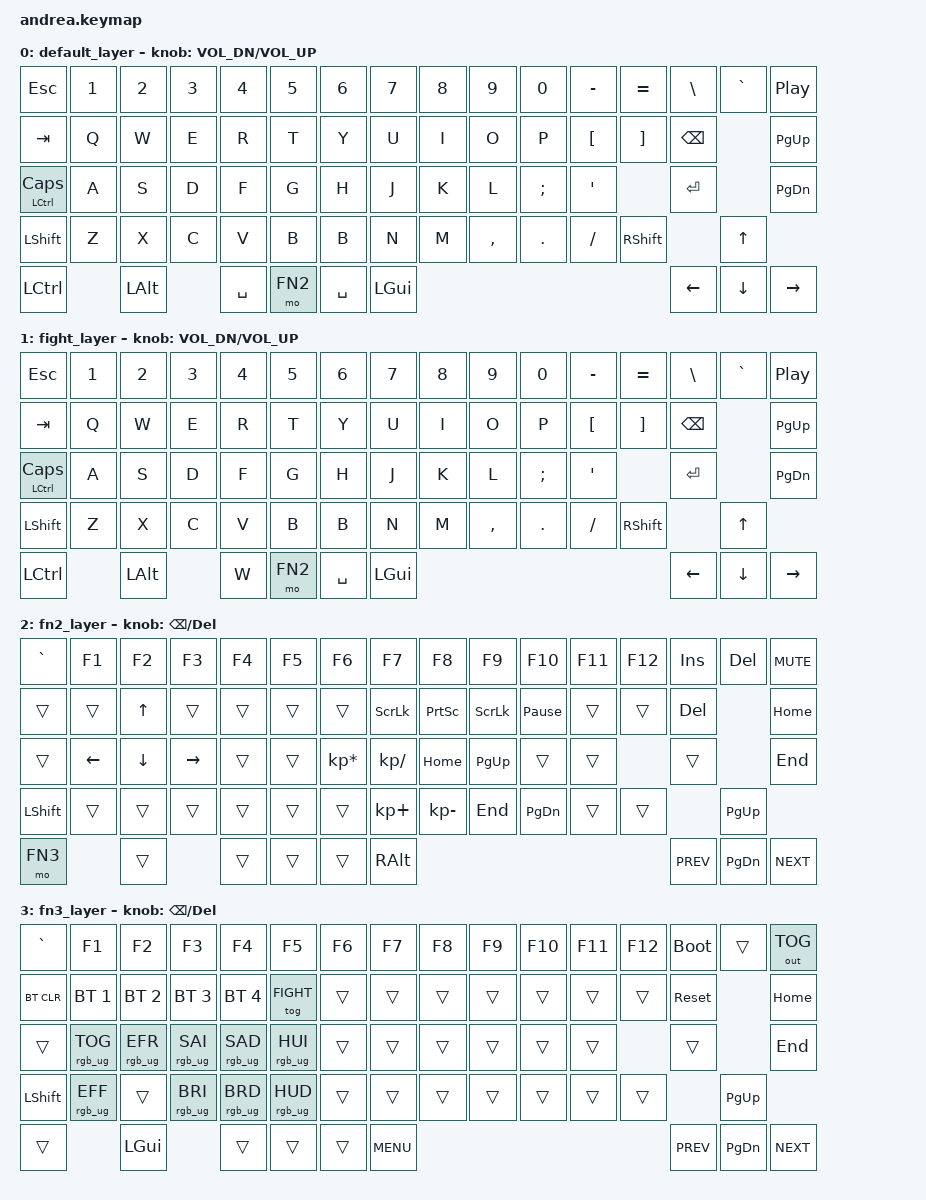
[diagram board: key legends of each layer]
#include <behaviors.dtsi>
#include <dt-bindings/zmk/keys.h>
#include <dt-bindings/zmk/bt.h>
#include <dt-bindings/zmk/outputs.h>
#include <dt-bindings/zmk/rgb.h>
#include <dt-bindings/zmk/ext_power.h>

#define FIGHT 1
#define FN2   2
#define FN3   3

/ {
	keymap {
		compatible = "zmk,keymap";

		default_layer {
			bindings = <
    &kp ESC          &kp N1           &kp N2        &kp N3        &kp N4        &kp N5           &kp N6           &kp N7           &kp N8           &kp N9           &kp N0           &kp MINUS        &kp EQUAL        &kp BSLH         &kp GRAVE       &kp C_PP
    &kp TAB          &kp Q            &kp W         &kp E         &kp R         &kp T            &kp Y            &kp U            &kp I            &kp O            &kp P            &kp LBKT         &kp RBKT         &kp BSPC                         &kp PG_UP
    &mt LCTRL CAPS   &kp A            &kp S         &kp D         &kp F         &kp G            &kp H            &kp J            &kp K            &kp L            &kp SEMI         &kp SQT                           &kp ENTER                        &kp PG_DN
    &kp LSHFT        &kp Z            &kp X         &kp C         &kp V         &kp B            &kp B            &kp N            &kp M            &kp COMMA        &kp DOT          &kp FSLH         &kp RSHFT                         &kp UP
    &kp LCTRL                         &kp LALT                    &kp SPACE     &mo FN2          &kp SPACE        &kp LGUI                                                                                              &kp LEFT         &kp DOWN        &kp RIGHT
			>;
			
			sensor-bindings = <&inc_dec_kp C_VOL_DN C_VOL_UP>;
			
		};

		fight_layer {
			bindings = <
    &kp ESC          &kp N1           &kp N2        &kp N3        &kp N4        &kp N5           &kp N6           &kp N7           &kp N8           &kp N9           &kp N0           &kp MINUS        &kp EQUAL        &kp BSLH         &kp GRAVE       &kp C_PP
    &kp TAB          &kp Q            &kp W         &kp E         &kp R         &kp T            &kp Y            &kp U            &kp I            &kp O            &kp P            &kp LBKT         &kp RBKT         &kp BSPC                         &kp PG_UP
    &mt LCTRL CAPS   &kp A            &kp S         &kp D         &kp F         &kp G            &kp H            &kp J            &kp K            &kp L            &kp SEMI         &kp SQT                           &kp ENTER                        &kp PG_DN
    &kp LSHFT        &kp Z            &kp X         &kp C         &kp V         &kp B            &kp B            &kp N            &kp M            &kp COMMA        &kp DOT          &kp FSLH         &kp RSHFT                         &kp UP
    &kp LCTRL                         &kp LALT                    &kp W         &mo FN2          &kp SPACE        &kp LGUI                                                                                              &kp LEFT         &kp DOWN        &kp RIGHT
			>;
			
			sensor-bindings = <&inc_dec_kp C_VOL_DN C_VOL_UP>;
			
		};

	        fn2_layer {
			bindings = <
    &kp GRAVE        &kp F1           &kp F2           &kp F3          &kp F4          &kp F5        &kp F6           &kp F7           &kp F8           &kp F9           &kp F10          &kp F11          &kp F12          &kp INS          &kp DEL        &kp C_MUTE
    &trans           &trans           &kp UP           &trans          &trans          &trans        &trans           &kp SLCK         &kp PSCRN        &kp SLCK         &kp PAUSE_BREAK  &trans           &trans           &kp DEL                         &kp HOME
    &trans           &kp LEFT         &kp DOWN         &kp RIGHT       &trans          &trans        &kp KP_MULTIPLY  &kp KP_DIVIDE    &kp HOME         &kp PG_UP        &trans           &trans                            &trans                          &kp END
    &kp LSHFT        &trans           &trans           &trans          &trans          &trans        &trans           &kp KP_PLUS      &kp KP_MINUS     &kp END          &kp PG_DN        &trans           &trans                            &kp PG_UP
    &mo FN3                           &trans                           &trans          &trans        &trans           &kp RALT                                                                                              &kp C_PREV       &kp PG_DN      &kp C_NEXT        
			>;

			sensor-bindings = <&inc_dec_kp BSPC DEL>;

		};

		fn3_layer {
			bindings = <
    &kp GRAVE        &kp F1           &kp F2           &kp F3          &kp F4          &kp F5           &kp F6           &kp F7           &kp F8           &kp F9           &kp F10          &kp F11          &kp F12          &bootloader      &trans         &out OUT_TOG
    &bt BT_CLR       &bt BT_SEL 1     &bt BT_SEL 2     &bt BT_SEL 3    &bt BT_SEL 4    &tog FIGHT       &trans           &trans           &trans           &trans           &trans           &trans           &trans           &sys_reset                      &kp HOME
    &trans           &rgb_ug RGB_TOG  &rgb_ug RGB_EFR  &rgb_ug RGB_SAI &rgb_ug RGB_SAD &rgb_ug RGB_HUI  &trans           &trans           &trans           &trans           &trans           &trans                            &trans                          &kp END
    &kp LSHFT        &rgb_ug RGB_EFF  &trans           &rgb_ug RGB_BRI &rgb_ug RGB_BRD &rgb_ug RGB_HUD  &trans           &trans           &trans           &trans           &trans           &trans           &trans                            &kp PG_UP
    &trans                            &kp LGUI                         &trans          &trans           &trans           &kp C_MENU                                                                                            &kp C_PREV       &kp PG_DN      &kp C_NEXT        
			>;

			sensor-bindings = <&inc_dec_kp BSPC DEL>;

		};

	};
};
